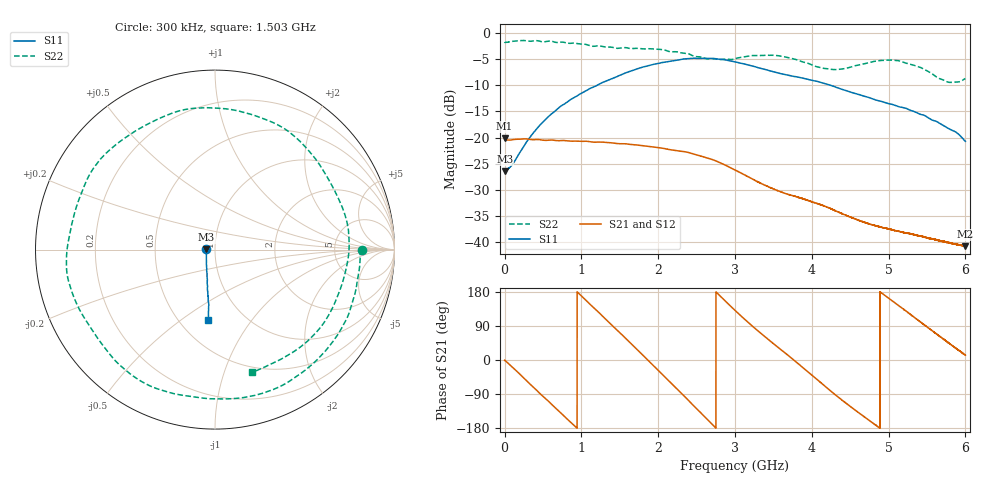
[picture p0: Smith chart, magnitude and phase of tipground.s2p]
!  8/6/2020  01:18:44
! Ref Plane: 0.000 mm
# MHZ S MA R  50
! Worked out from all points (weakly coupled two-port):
!   10001 points, 300 kHz to 6 GHz, reference 50 ohm
!   highest |S21| = -20.11 dB at 300 kHz (marker M1); lowest = -40.7 dB at 5.996 GHz (marker M2)
!   lowest |S11| = -26.4 dB at 900 kHz (marker M3), VSWR 1.10, Z = 45.5 + j0.078 ohm
!   |S11| at or under -10 dB: start of sweep to 1.207 GHz; 4.24 GHz to end of sweep
!   |S22| runs from -9.5 to -1.5 dB; largest |S21 - S12| = 0.0021
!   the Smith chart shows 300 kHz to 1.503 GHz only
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0.3  0.04804 178.3  0.09879 -1.0  0.09665 -0.9  0.8167 -0.3
0.9  0.04765 179.0  0.09487 -0.4  0.09538 -0.3  0.81 -0.5
297.8851  0.09364 -120.8  0.09701 -57.3  0.09716 -57.3  0.8345 -85.5
595.4702  0.1646 -105.4  0.09484 -113.5  0.095 -113.5  0.8351 -170.2
1000.45  0.265 -98.2  0.09219 169.0  0.09224 169.0  0.7796 74.5
1256.637  0.3309 -96.2  0.09077 119.6  0.09079 119.5  0.7463 -0.4
1544.623  0.4057 -95.7  0.0874 63.5  0.08754 63.4  0.7214 -84.7
1787.011  0.4677 -97.4  0.08396 15.3  0.08406 15.4  0.7042 -151.5
2000.6  0.5095 -100.0  0.08026 -27.1  0.08043 -27.2  0.6945 152.0
2256.187  0.5483 -103.0  0.07479 -78.1  0.07517 -78.1  0.6555 85.3
2537.573  0.5695 -107.8  0.06724 -136.0  0.06729 -136.0  0.5896 6.9
2782.961  0.5612 -111.4  0.05858 173.7  0.05857 173.7  0.557 -67.0
3000.15  0.5281 -113.8  0.04907 131.0  0.04899 131.1  0.5648 -132.2
3232.938  0.4808 -114.3  0.04011 88.2  0.04004 88.2  0.6063 164.9
3513.724  0.4221 -111.8  0.03206 41.0  0.03193 40.9  0.6089 95.0
4000.3  0.3528 -104.5  0.02447 -39.8  0.02437 -39.7  0.4943 -32.0
4222.289  0.3191 -102.2  0.02141 -77.7  0.02131 -77.8  0.4515 -101.6
4486.276  0.2747 -98.0  0.01765 -120.2  0.01771 -120.2  0.4662 175.7
5000.45  0.2107 -88.2  0.01349 163.1  0.01347 163.1  0.5471 44.0
5497.825  0.1579 -80.2  0.01115 87.7  0.01111 87.6  0.4348 -76.4
5995.8  0.09296 -68.9  0.009219 13.3  0.009303 13.1  0.3649 119.0
6000  0.09233 -68.9  0.009291 12.6  0.009267 12.5  0.3662 117.8
